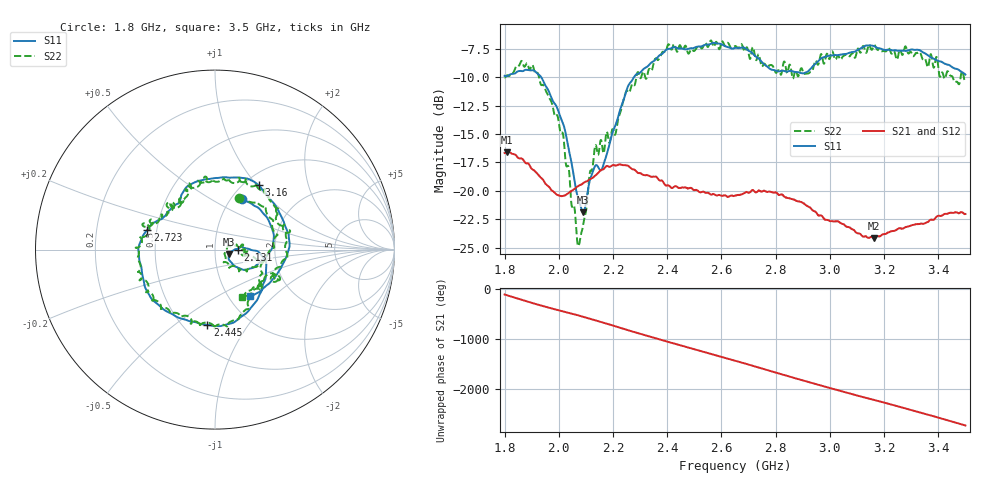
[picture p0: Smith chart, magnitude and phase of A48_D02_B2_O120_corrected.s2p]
! Created with skrf 1.9.0 (http://scikit-rf.org).
# Hz S RI R 50.0
!freq ReS11 ImS11 ReS21 ImS21 ReS12 ImS12 ReS22 ImS22
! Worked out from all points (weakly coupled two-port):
!   1601 points, 1.8 GHz to 3.5 GHz, reference 50 ohm
!   highest |S21| = -16.61 dB at 1.81 GHz (marker M1); lowest = -24.2 dB at 3.163 GHz (marker M2)
!   lowest |S11| = -21.9 dB at 2.09 GHz (marker M3), VSWR 1.18, Z = 58.3 - j2.82 ohm
!   |S11| at or under -10 dB: 1.935 GHz to 2.277 GHz (342.5 MHz wide, 16.3 % of centre)
!   |S22| runs from -24.9 to -6.8 dB; largest |S21 - S12| = 0.0025
!   S11 on the Smith chart (normalised r, x): 1.8 GHz: 1.11, +0.70; 2.131 GHz: 1.29, -0.01; 2.445 GHz: 0.65, -0.66; 2.723 GHz: 0.44, +0.12; 3.16 GHz: 1.16, +1.03; 3.5 GHz: 1.25, -0.72
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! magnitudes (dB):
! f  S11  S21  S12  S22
! 1.8 GHz  -9.9  -16.7  -16.7  -10.0
! 1.81 GHz  -9.9  -16.6  -16.6  -9.8
! 1.902 GHz  -9.4  -18.1  -18.1  -8.9
! 1.966 GHz  -11.4  -19.7  -19.8  -11.9
! 2.014 GHz  -14.0  -20.4  -20.5  -14.9
! 2.07 GHz  -20.5  -19.6  -19.6  -24.8
! 2.084 GHz  -21.6  -19.5  -19.4  -23.6
! 2.09 GHz  -21.9  -19.3  -19.4  -23.0
! 2.131 GHz  -17.9  -18.7  -18.7  -16.4
! 2.163 GHz  -17.8  -18.1  -18.0  -16.6
! 2.21 GHz  -14.2  -17.8  -17.7  -14.9
! 2.26 GHz  -10.6  -17.9  -17.9  -11.3
! 2.367 GHz  -8.2  -19.0  -18.9  -8.5
! 2.445 GHz  -7.5  -19.7  -19.7  -7.2
! 2.65 GHz  -7.4  -20.4  -20.4  -7.3
! 2.723 GHz  -8.1  -20.1  -20.0  -8.1
! 2.812 GHz  -9.5  -20.4  -20.2  -9.4
! 2.934 GHz  -9.1  -21.7  -21.6  -9.5
! 3.16 GHz  -7.2  -24.2  -24.1  -7.4
! 3.163 GHz  -7.3  -24.2  -24.1  -7.2
! 3.217 GHz  -7.6  -23.6  -23.6  -7.4
! 3.5 GHz  -9.8  -22.0  -22.0  -10.3
